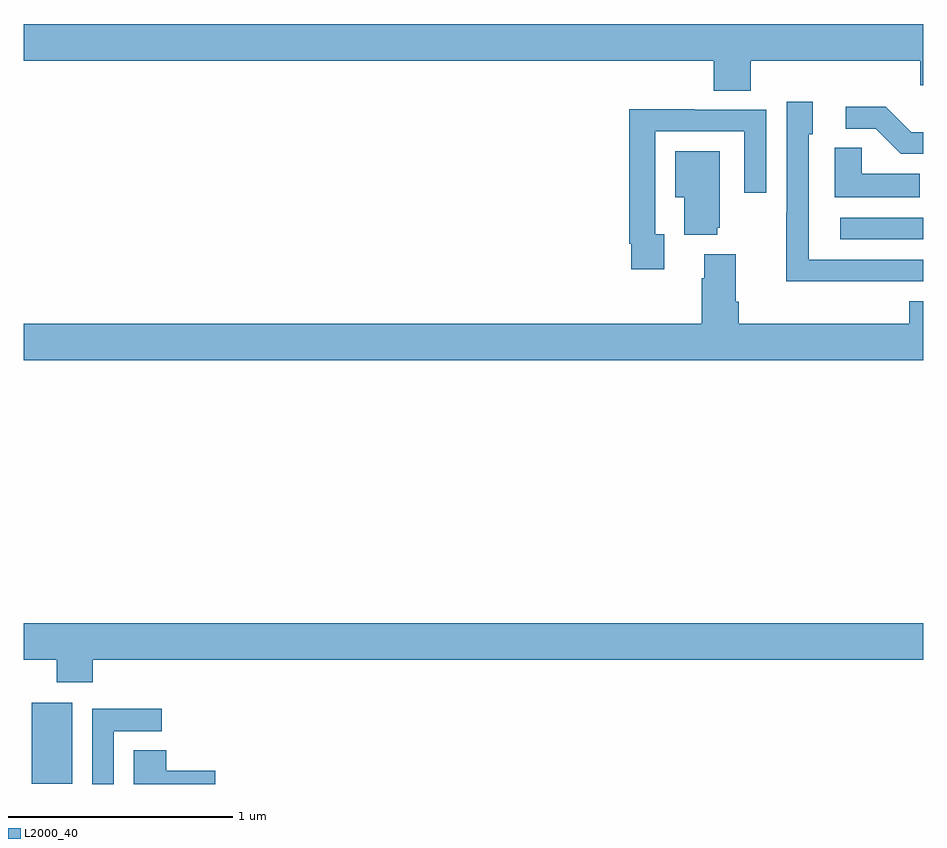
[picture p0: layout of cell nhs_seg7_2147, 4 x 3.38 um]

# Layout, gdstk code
import gdstk
lib = gdstk.Library(unit=1e-6, precision=1e-09)
def R(c, l, rs):  # rectangles x0, y0, x1, y1
    for r in rs: c.add(gdstk.rectangle(r[:2], r[2:], *l))
def P(c, l, *ps):  # polygons
    for p in ps: c.add(gdstk.Polygon(p, *l))
L2000_40 = (2000, 40)

nhs_seg7_2147 = lib.new_cell('nhs_seg7_2147')
R(nhs_seg7_2147, L2000_40, [(251.036,1064.001,251.215,1064.362), (254.631,1066.422,255,1066.518)])
P(nhs_seg7_2147, L2000_40, [(254.234,1067.216),(254.987,1067.216),(254.987,1067.107),(255,1067.107),(255,1067.38),(251,1067.38),(251,1067.216),(254.069,1067.216),(254.069,1067.083),(254.234,1067.083)],
  [(254.855,1066.236),(255,1066.236),(255,1066.332),(254.49,1066.332),(254.49,1066.89),(254.509,1066.89),(254.509,1067.035),(254.394,1067.035),(254.394,1066.541),(254.392,1066.541),(254.392,1066.235),(254.855,1066.235)],
  [(255,1066.899),(254.946,1066.899),(254.833,1067.012),(254.655,1067.012),(254.655,1066.914),(254.789,1066.914),(254.9,1066.803),(255,1066.803)],
  [(253.849,1066.446),(253.809,1066.446),(253.809,1066.902),(254.205,1066.902),(254.205,1066.629),(254.301,1066.629),(254.301,1066.998),(253.985,1066.998),(253.985,1067),(253.693,1067),(253.693,1066.402),(253.701,1066.402),(253.701,1066.29),(253.849,1066.29)],
  [(254.984,1066.714),(254.727,1066.714),(254.727,1066.829),(254.606,1066.829),(254.606,1066.61),(254.984,1066.61)],
  [(254.084,1066.473),(254.095,1066.473),(254.095,1066.813),(253.898,1066.813),(253.898,1066.61),(253.937,1066.61),(253.937,1066.442),(254.084,1066.442)],
  [(254.167,1066.144),(254.167,1066.357),(254.027,1066.357),(254.027,1066.25),(254.015,1066.25),(254.015,1066.048),(251,1066.048),(251,1065.884),(255,1065.884),(255,1066.147),(254.939,1066.147),(254.939,1066.048),(254.18,1066.048),(254.18,1066.144)],
  [(251.306,1064.552),(255,1064.552),(255,1064.716),(251,1064.716),(251,1064.552),(251.146,1064.552),(251.146,1064.453),(251.306,1064.453)],
  [(251.4,1064.235),(251.614,1064.235),(251.614,1064.334),(251.304,1064.334),(251.304,1064),(251.4,1064)],
  [(251.851,1064.06),(251.633,1064.06),(251.633,1064.15),(251.489,1064.15),(251.489,1064),(251.851,1064)])

lib.write_gds('nhs_seg7_2147.gds')
